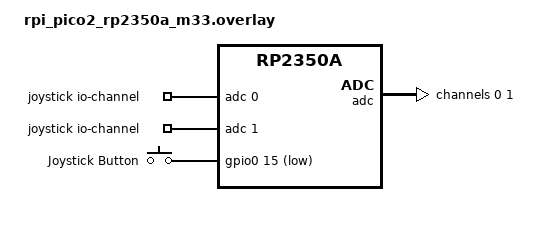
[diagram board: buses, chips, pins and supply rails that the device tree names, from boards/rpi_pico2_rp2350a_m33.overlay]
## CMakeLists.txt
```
cmake_minimum_required(VERSION 3.20.0)
find_package(Zephyr REQUIRED HINTS $ENV{ZEPHYR_BASE})
project(joystick_01)

target_sources(app PRIVATE src/main.c)
```

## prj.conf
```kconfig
CONFIG_PRINTK=y
CONFIG_GPIO=y
CONFIG_ADC=y

CONFIG_INPUT=y
CONFIG_INPUT_GPIO_KEYS=y
CONFIG_INPUT_LONGPRESS=y
CONFIG_INPUT_DOUBLE_TAP=y
CONFIG_INPUT_ANALOG_AXIS=y
```

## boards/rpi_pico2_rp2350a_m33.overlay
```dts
#include <zephyr/dt-bindings/input/input-event-codes.h>
#include <zephyr/dt-bindings/adc/adc.h>

/{
    joystick: joystick{
        compatible = "zephyr,input-analog-axis";
        poll-period-ms = <15>;
        io-channels = <&adc 0>, <&adc 1>;

        axis_x{
            zephyr,axis = <INPUT_ABS_X>;
            in-min = <100>;
            in-max = <4000>;
            out-min = <(-512)>;
            out-max = <511>;
            deadzone = <30>;
        };

        axis_y{
            zephyr,axis = <INPUT_ABS_Y>;
            in-min = <100>;
            in-max = <4000>;
            out-min = <(-512)>;
            out-max = <511>;
            deadzone = <30>;
        };
    };

    buttons{
        compatible = "gpio-keys";
        js_btn: js_btn{
            gpios = <&gpio0 15 GPIO_ACTIVE_LOW>;
            label = "Joystick Button";
            zephyr,code = <INPUT_KEY_ENTER>;
        };
    };

    js_lp: js_lp{
        compatible = "zephyr,input-longpress";
        input-codes = <INPUT_KEY_ENTER>;
        short-codes = <INPUT_KEY_KPENTER>;
        long-codes = <INPUT_KEY_MENU>;
        long-delay-ms = <800>;
    };

    js_dt: js_dt{
        compatible = "zephyr,input-double-tap";
        input-codes = <INPUT_KEY_ENTER>;
        double-tap-codes = <INPUT_KEY_PLAYPAUSE>;
        double-tap-delay-ms = <300>;
    };
};

&adc {
    status = "okay";
    #address-cells = <1>;   /* ← add these two */
    #size-cells = <0>;      /*    lines         */
    channel@0 {
        reg = <0>;
        zephyr,gain = "ADC_GAIN_1";
        zephyr,reference = "ADC_REF_INTERNAL";
        zephyr,acquisition-time = <ADC_ACQ_TIME_DEFAULT>;
        zephyr,resolution = <12>;
    };

    channel@1 {
        reg = <1>;
        zephyr,gain = "ADC_GAIN_1";
        zephyr,reference = "ADC_REF_INTERNAL";
        zephyr,acquisition-time = <ADC_ACQ_TIME_DEFAULT>;
        zephyr,resolution = <12>;
    };
};
```

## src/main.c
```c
#include <zephyr/kernel.h>
#include <zephyr/device.h>
#include <zephyr/input/input.h>

static void js_cb(struct input_event *evt, void *ud)
{
	if(evt->sync == 0)
	{
		return;
	}

	switch(evt->type)
	{
		case INPUT_EV_ABS:
			if(evt->code == INPUT_ABS_X || evt->code == INPUT_ABS_Y)
			{
				printk("Joystick moved: code=%d, value=%d\n", evt->code, evt->value);
			}
			else
			{
				printk("Analog event: code=%d, value=%d\n", evt->code, evt->value);
			}
			
			break;
		case INPUT_EV_KEY:
			if(!evt->value)
			break;
			switch(evt->code)
			{
				case INPUT_KEY_KPENTER: printk("short\n");  break;
				case INPUT_KEY_PLAYPAUSE : printk("double\n"); break;
				case INPUT_KEY_MENU : printk("longpress\n"); break;
			}
			break;
		default:
			printk("Unknown event type: %d\n", evt->type);
	}
}

INPUT_CALLBACK_DEFINE(NULL, js_cb, NULL);

int main(void)
{ 
    printk("joystick sample application started\n");
	return 0;
}
```
